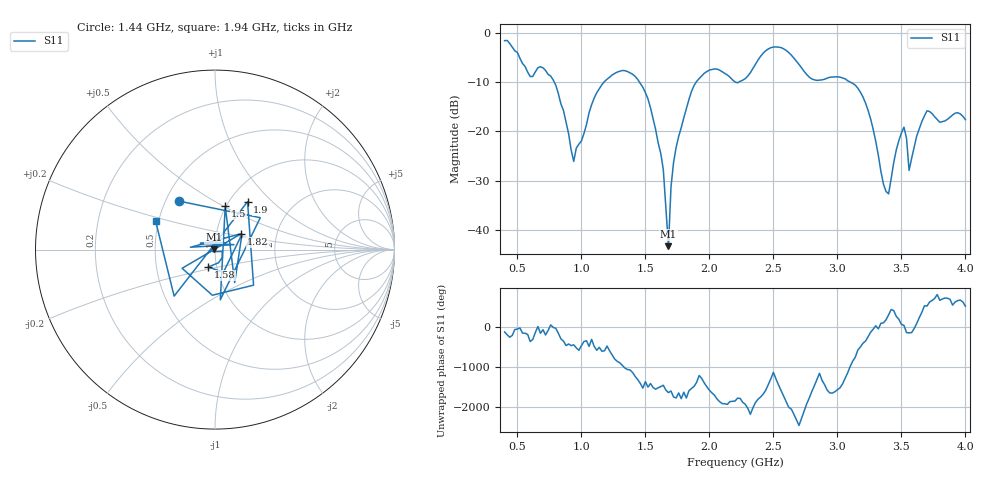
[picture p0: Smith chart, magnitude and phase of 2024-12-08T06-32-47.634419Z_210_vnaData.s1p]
!Created with skrf (http://scikit-rf.org).
# Hz S RI R 50.0
!freq ReS11 ImS11
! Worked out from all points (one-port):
!   181 points, 400 MHz to 4 GHz, reference 50 ohm
!   lowest |S11| = -43.4 dB at 1.68 GHz (marker M1), VSWR 1.01, Z = 49.3 + j0.182 ohm
!   |S11| at or under -10 dB: 788.5 MHz to 1.176 GHz (387.1 MHz wide, 39.4 % of centre); 1.455 GHz to 1.896 GHz (441.5 MHz wide, 26.4 % of centre); 3.102 GHz to end of sweep (the widest 3 of 4)
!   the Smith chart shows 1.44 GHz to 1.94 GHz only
!   S11 on the Smith chart (normalised r, x): 1.44 GHz: 0.58, +0.36; 1.5 GHz: 0.99, +0.51; 1.58 GHz: 0.91, -0.18; 1.82 GHz: 1.31, +0.24; 1.9 GHz: 1.21, +0.72; 1.94 GHz: 0.48, +0.18
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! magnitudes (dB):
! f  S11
! 400 MHz  -1.5
! 600 MHz  -8.8
! 760 MHz  -8.8
! 860 MHz  -15.8
! 940 MHz  -26.1
! 1.12 GHz  -12.1
! 1.3 GHz  -7.8
! 1.44 GHz  -9.4
! 1.5 GHz  -12.1
! 1.58 GHz  -19.6
! 1.64 GHz  -27.8
! 1.68 GHz  -43.4
! 1.7 GHz  -31.3
! 1.76 GHz  -21.0
! 1.82 GHz  -15.4
! 1.9 GHz  -9.8
! 1.94 GHz  -8.7
! 2.2 GHz  -9.9
! 2.48 GHz  -3.0
! 2.66 GHz  -5.1
! 2.8 GHz  -9.3
! 3.1 GHz  -10.0
! 3.24 GHz  -15.7
! 3.38 GHz  -32.2
! 3.52 GHz  -19.1
! 3.56 GHz  -27.9
! 3.7 GHz  -15.8
! 4 GHz  -17.6
